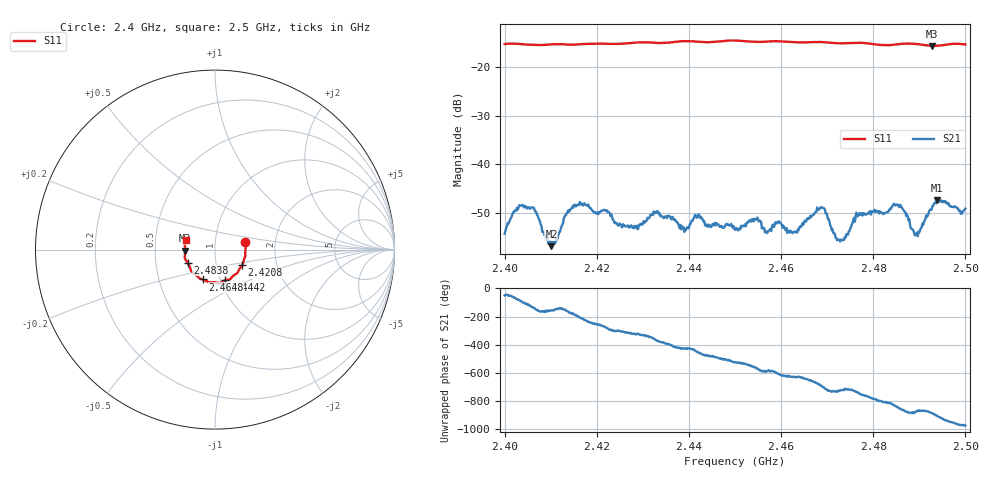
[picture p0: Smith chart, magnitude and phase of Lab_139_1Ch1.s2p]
# Hz S RI R 50
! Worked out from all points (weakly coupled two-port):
!   601 points, 2.4 GHz to 2.5 GHz, reference 50 ohm
!   highest |S21| = -47.37 dB at 2.4938 GHz (marker M1); lowest = -56.9 dB at 2.4102 GHz (marker M2)
!   lowest |S11| = -15.6 dB at 2.4928 GHz (marker M3), VSWR 1.40, Z = 35.8 - j0.371 ohm
!   |S11| at or under -10 dB: start of sweep to end of sweep
!   S12 and S22 are empty: the file has one direction only
!   S11 on the Smith chart (normalised r, x): 2.4 GHz: 1.40, +0.12; 2.4208 GHz: 1.33, -0.24; 2.4442 GHz: 1.05, -0.37; 2.4648 GHz: 0.83, -0.28; 2.4838 GHz: 0.73, -0.11; 2.5 GHz: 0.72, +0.08
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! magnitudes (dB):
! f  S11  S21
! 2.4 GHz  -15.2  -54.3
! 2.4032 GHz  -15.2  -48.4
! 2.4058 GHz  -15.4  -48.9
! 2.4102 GHz  -15.3  -56.9
! 2.4167 GHz  -15.3  -48.1
! 2.4208 GHz  -15.2  -49.7
! 2.4285 GHz  -14.9  -52.9
! 2.4333 GHz  -15.0  -49.9
! 2.4442 GHz  -14.9  -52.9
! 2.45 GHz  -14.5  -53.5
! 2.4648 GHz  -14.9  -52.5
! 2.4667 GHz  -14.8  -50.6
! 2.469 GHz  -14.8  -48.9
! 2.4732 GHz  -15.1  -55.5
! 2.4767 GHz  -15.0  -50.7
! 2.4833 GHz  -15.5  -49.6
! 2.4838 GHz  -15.4  -49.0
! 2.4863 GHz  -15.2  -49.1
! 2.4895 GHz  -15.3  -54.1
! 2.4928 GHz  -15.6  -48.6
! 2.4938 GHz  -15.6  -47.4
! 2.5 GHz  -15.3  -49.1
